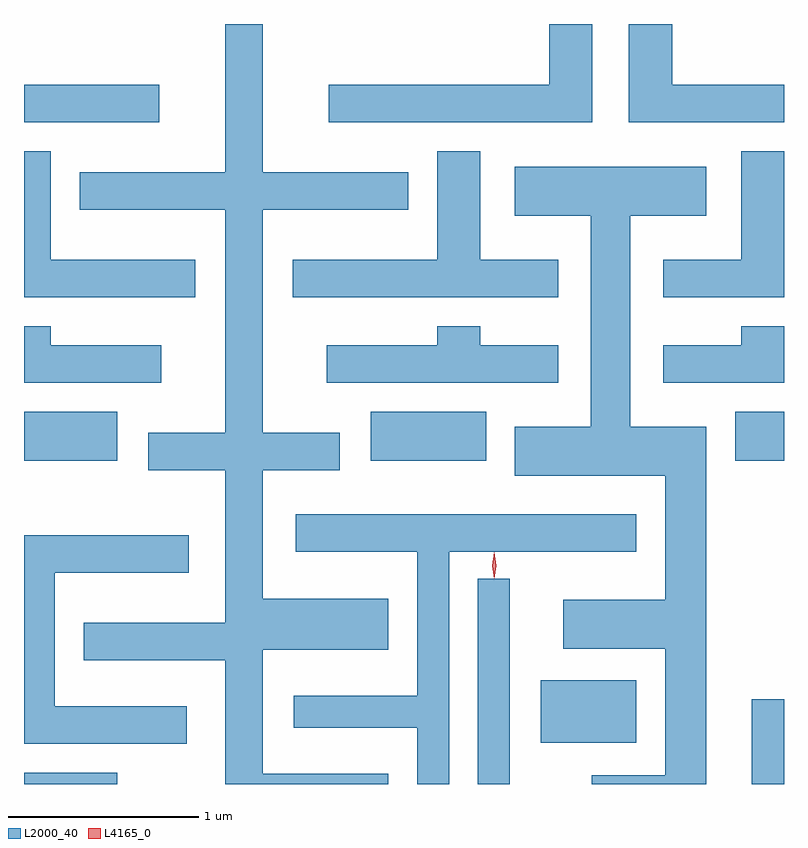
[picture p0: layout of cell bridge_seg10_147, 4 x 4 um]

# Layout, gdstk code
import gdstk
lib = gdstk.Library(unit=1e-6, precision=1e-09)
def R(c, l, rs):  # rectangles x0, y0, x1, y1
    for r in rs: c.add(gdstk.rectangle(r[:2], r[2:], *l))
def P(c, l, *ps):  # polygons
    for p in ps: c.add(gdstk.Polygon(p, *l))
L2000_40 = (2000, 40)
L4165_0 = (4165, 0)

bridge_seg10_147 = lib.new_cell('bridge_seg10_147')
R(bridge_seg10_147, L2000_40, [(1678.692,2141.094,1679.184,2141.154), (1681.081,2141.094,1681.249,2142.173), (1682.521,2141.094,1682.692,2141.539), (1681.411,2141.311,1681.914,2141.639), (1678.692,2142.796,1679.184,2143.054), (1680.516,2142.796,1681.124,2143.054), (1682.436,2142.796,1682.692,2143.054), (1678.692,2144.576,1679.404,2144.774)])
P(bridge_seg10_147, L2000_40, [(1680.609,2141.149),(1679.949,2141.149),(1679.949,2141.801),(1680.609,2141.801),(1680.609,2142.069),(1679.949,2142.069),(1679.949,2142.746),(1680.354,2142.746),(1680.354,2142.944),(1679.949,2142.944),(1679.949,2144.116),(1680.714,2144.116),(1680.714,2144.314),(1679.949,2144.314),(1679.949,2145.094),(1679.751,2145.094),(1679.751,2144.314),(1678.986,2144.314),(1678.986,2144.116),(1679.751,2144.116),(1679.751,2142.944),(1679.346,2142.944),(1679.346,2142.746),(1679.751,2142.746),(1679.751,2141.944),(1679.006,2141.944),(1679.006,2141.746),(1679.751,2141.746),(1679.751,2141.094),(1680.609,2141.094)],
  [(1682.692,2144.774),(1682.104,2144.774),(1682.104,2145.094),(1681.876,2145.094),(1681.876,2144.576),(1682.692,2144.576)],
  [(1681.684,2145.094),(1681.456,2145.094),(1681.456,2144.774),(1680.296,2144.774),(1680.296,2144.576),(1681.684,2144.576)],
  [(1679.594,2143.854),(1678.834,2143.854),(1678.834,2144.424),(1678.692,2144.424),(1678.692,2143.656),(1679.594,2143.656)],
  [(1681.504,2143.854),(1681.094,2143.854),(1681.094,2144.424),(1680.866,2144.424),(1680.866,2143.854),(1680.106,2143.854),(1680.106,2143.656),(1681.504,2143.656)],
  [(1682.692,2144.424),(1682.466,2144.424),(1682.466,2143.854),(1682.056,2143.854),(1682.056,2143.656),(1682.692,2143.656)],
  [(1682.284,2142.974),(1681.884,2142.974),(1681.884,2144.086),(1682.284,2144.086),(1682.284,2144.344),(1681.276,2144.344),(1681.276,2144.086),(1681.676,2144.086),(1681.676,2142.974),(1681.276,2142.974),(1681.276,2142.716),(1682.066,2142.716),(1682.066,2142.064),(1681.531,2142.064),(1681.531,2141.806),(1682.066,2141.806),(1682.066,2141.139),(1681.681,2141.139),(1681.681,2141.094),(1682.284,2141.094)],
  [(1681.504,2143.404),(1681.094,2143.404),(1681.094,2143.504),(1680.866,2143.504),(1680.866,2143.404),(1680.286,2143.404),(1680.286,2143.206),(1681.504,2143.206)],
  [(1679.414,2143.404),(1678.834,2143.404),(1678.834,2143.504),(1678.692,2143.504),(1678.692,2143.206),(1679.414,2143.206)],
  [(1682.692,2143.504),(1682.466,2143.504),(1682.466,2143.404),(1682.056,2143.404),(1682.056,2143.206),(1682.692,2143.206)],
  [(1680.929,2142.316),(1681.914,2142.316),(1681.914,2142.514),(1680.121,2142.514),(1680.121,2142.316),(1680.761,2142.316),(1680.761,2141.559),(1680.113,2141.559),(1680.113,2141.391),(1680.761,2141.391),(1680.761,2141.094),(1680.929,2141.094)],
  [(1679.549,2141.504),(1678.854,2141.504),(1678.854,2142.206),(1679.559,2142.206),(1679.559,2142.404),(1678.692,2142.404),(1678.692,2141.306),(1679.549,2141.306)])
P(bridge_seg10_147, L4165_0, [(1681.167,2142.178),(1681.167,2142.178),(1681.157,2142.244),(1681.167,2142.311),(1681.167,2142.311),(1681.168,2142.311),(1681.177,2142.244),(1681.168,2142.178)],
  [(1681.167,2142.174),(1681.167,2142.175),(1681.157,2142.244),(1681.167,2142.313),(1681.167,2142.314),(1681.168,2142.313),(1681.177,2142.244),(1681.168,2142.175)])

lib.write_gds('bridge_seg10_147.gds')
